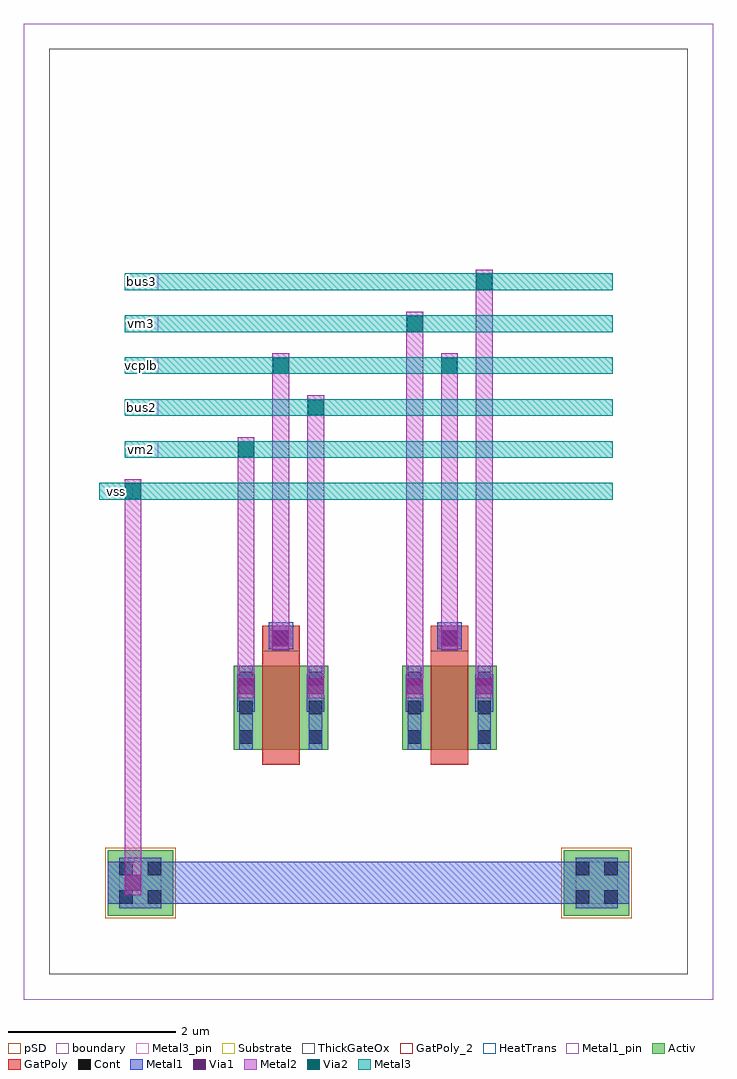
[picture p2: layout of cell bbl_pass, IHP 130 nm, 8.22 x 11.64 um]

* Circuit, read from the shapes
.subckt bbl_pass bus2 bus3 vcplb vm2 vm3 vss
XM1 bus2 vcplb vm2 vss sg13_hv_nmos w=1u l=0.45u
XM2 bus3 vcplb vm3 vss sg13_hv_nmos w=1u l=0.45u
.ends

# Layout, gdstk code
import gdstk
lib = gdstk.Library(unit=1e-6, precision=1e-09)
def R(c, l, rs):  # rectangles x0, y0, x1, y1
    for r in rs: c.add(gdstk.rectangle(r[:2], r[2:], *l))
def A(c, l, x, y, w, h, nx, ny, dx, dy):  # array of equal rectangles
    R(c, l, [(x+i*dx, y+j*dy, x+i*dx+w, y+j*dy+h) for i in range(nx) for j in range(ny)])
Activ = (1, 0)
GatPoly = (5, 0)
GatPoly_2 = (5, 2)
Cont = (6, 0)
Metal1 = (8, 0)
Metal1_pin = (8, 2)
Metal2 = (10, 0)
pSD = (14, 0)
Via1 = (19, 0)
Via2 = (29, 0)
Metal3 = (30, 0)
Metal3_pin = (30, 2)
Substrate = (40, 0)
ThickGateOx = (44, 0)
HeatTrans = (51, 0)
boundary = (189, 4)

nmoshv_14 = lib.new_cell('nmosHV$14')
R(nmoshv_14, Activ, [(0,0,0.3,0.3), (0,0,1.13,1), (0.83,0,1.13,0.3)])
R(nmoshv_14, GatPoly, [(0.34,-0.18,0.79,1.18)])
R(nmoshv_14, GatPoly_2, [(0.34,-0.18,0.79,1.18)])
A(nmoshv_14, Cont, 0.07, 0.07, 0.16, 0.16, 1, 3, 0, 0.35)
A(nmoshv_14, Cont, 0.9, 0.07, 0.16, 0.16, 1, 3, 0, 0.35)
R(nmoshv_14, Metal1, [(0.07,0,0.23,1), (0.9,0,1.06,1)])
R(nmoshv_14, Metal1_pin, [(0.07,0,0.23,1), (0.9,0,1.06,1)])
R(nmoshv_14, ThickGateOx, [(-0.27,-0.52,1.4,1.52)])
R(nmoshv_14, HeatTrans, [(0.34,-0.18,0.79,1.18)])
nmoshv_14.add(gdstk.Label('nmosHV', (0.565,0.5), layer=63, texttype=0))
nmoshv_14.add(gdstk.Label('nmosHV', (0.565,0.5), layer=51, texttype=0))

ptap1 = lib.new_cell('ptap1')
R(ptap1, Activ, [(0,0,0.78,0.78)])
R(ptap1, Cont, [(0.14,0.14,0.3,0.3), (0.48,0.14,0.64,0.3), (0.14,0.48,0.3,0.64), (0.48,0.48,0.64,0.64)])
R(ptap1, Metal1, [(0.14,0.09,0.64,0.69), (0.14,0.14,0.64,0.64)])
R(ptap1, Metal1_pin, [(0.14,0.14,0.64,0.64)])
R(ptap1, pSD, [(-0.03,-0.03,0.81,0.81)])
R(ptap1, Substrate, [(0,0,0.78,0.78)])
ptap1.add(gdstk.Label('sub!', (0.39,0.01), layer=63, texttype=0))
ptap1.add(gdstk.Label('sub!', (0.39,0.01), layer=40, texttype=0))

bbl_pass = lib.new_cell('bbl_pass')
R(bbl_pass, GatPoly, [(1.84,3.05,2.29,3.46), (3.85,3.05,4.3,3.46)])
R(bbl_pass, Cont, [(1.985,3.23,2.145,3.39), (3.995,3.23,4.155,3.39)])
R(bbl_pass, Metal1, [(0,0.14,6.22,0.64), (1.545,2.43,1.755,2.88), (2.375,2.43,2.585,2.88), (3.555,2.43,3.765,2.88), (4.385,2.43,4.595,2.88), (1.92,3.18,2.21,3.5), (3.93,3.18,4.22,3.5)])
R(bbl_pass, Metal2, [(0.2,0.245,0.4,5.205), (1.55,2.59,1.75,5.705), (2.38,2.59,2.58,6.205), (3.56,2.59,3.76,7.205), (4.39,2.59,4.59,7.705), (1.965,3.165,2.165,6.705), (3.975,3.165,4.175,6.705)])
R(bbl_pass, Via1, [(0.205,0.295,0.395,0.485), (1.555,2.64,1.745,2.83), (2.385,2.64,2.575,2.83), (3.565,2.64,3.755,2.83), (4.395,2.64,4.585,2.83), (1.97,3.215,2.16,3.405), (3.98,3.215,4.17,3.405)])
R(bbl_pass, Via2, [(0.205,4.965,0.395,5.155), (1.555,5.465,1.745,5.655), (2.385,5.965,2.575,6.155), (1.97,6.465,2.16,6.655), (3.98,6.465,4.17,6.655), (3.565,6.965,3.755,7.155), (4.395,7.465,4.585,7.655)])
A(bbl_pass, Metal3, 0.2, 5.46, 5.82, 0.2, 1, 5, 0, 0.5)
R(bbl_pass, Metal3, [(-0.1,4.96,6.02,5.16)])
A(bbl_pass, Metal3_pin, 0.2, 5.46, 0.4, 0.2, 1, 5, 0, 0.5)
R(bbl_pass, Metal3_pin, [(-0.1,4.96,0.3,5.16)])
R(bbl_pass, ThickGateOx, [(-0.7,-0.7,6.92,10.34)])
R(bbl_pass, boundary, [(-1,-1,7.22,10.64)])
bbl_pass.add(gdstk.Reference(nmoshv_14, (1.5,1.98)))
bbl_pass.add(gdstk.Reference(nmoshv_14, (3.51,1.98)))
bbl_pass.add(gdstk.Reference(ptap1, (0,0)))
bbl_pass.add(gdstk.Reference(ptap1, (5.44,0)))
bbl_pass.add(gdstk.Label('vm2', (0.4,5.56), layer=30, texttype=25))
bbl_pass.add(gdstk.Label('bus2', (0.4,6.06), layer=30, texttype=25))
bbl_pass.add(gdstk.Label('vcplb', (0.4,6.56), layer=30, texttype=25))
bbl_pass.add(gdstk.Label('vm3', (0.4,7.06), layer=30, texttype=25))
bbl_pass.add(gdstk.Label('bus3', (0.4,7.56), layer=30, texttype=25))
bbl_pass.add(gdstk.Label('vss', (0.1,5.06), layer=30, texttype=25))

lib.write_gds('bbl_pass.gds')
